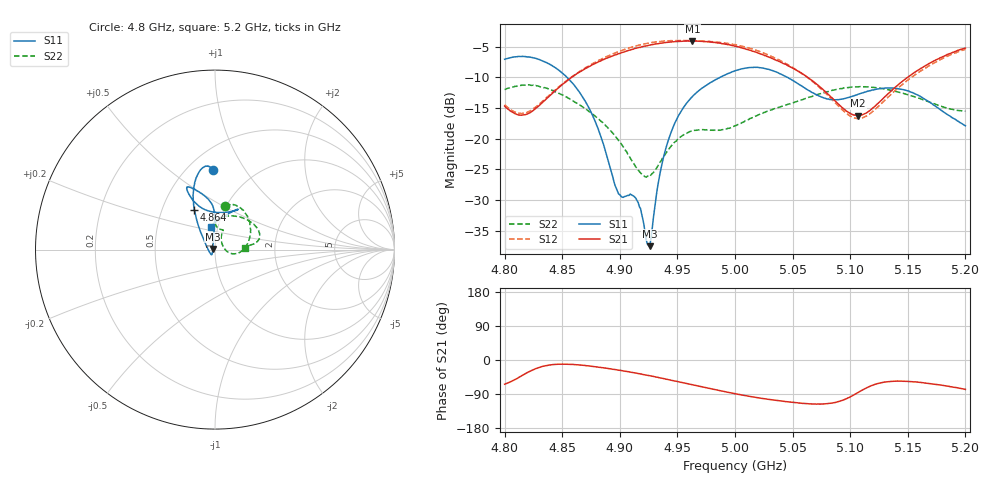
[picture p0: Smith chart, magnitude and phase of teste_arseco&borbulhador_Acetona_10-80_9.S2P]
! Network Analyzer HP8722D
! Hewlett-Packard
! Data name: Linha & Wilkinson
! Saver's name: Rodrigo Anjos
! Comments: Teste da utilização de aquisição
! continua pelo VNA HP8722D
! Time and date: 25/4/2025 15:20
!  Frequency  S11  S21  S12  S22
# HZ  S  MA R 50
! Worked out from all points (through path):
!   401 points, 4.8 GHz to 5.2 GHz, reference 50 ohm
!   highest |S21| = -4.08 dB at 4.963 GHz (marker M1); lowest = -16.3 dB at 5.107 GHz (marker M2)
!   lowest |S11| = -37.5 dB at 4.926 GHz (marker M3), VSWR 1.03, Z = 48.8 + j0.413 ohm
!   |S11| at or under -10 dB: 4.854 GHz to 4.987 GHz (133.2 MHz wide, 2.71 % of centre); 5.045 GHz to end of sweep
!   |S22| runs from -26.3 to -11.2 dB; largest |S21 - S12| = 1.2
!   S11 on the Smith chart (normalised r, x): 4.8 GHz: 0.66, +0.73; 4.864 GHz: 0.73, +0.34; 5.2 GHz: 0.92, +0.23
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4.8e9  0.4432 91.6  0.1841 -63.9  0.1886 69.4  0.251 76.9
4.82e9  0.4627 97.8  0.1591 -32.6  0.1646 98.0  0.2744 61.8
4.843e9  0.3839 107.2  0.2412 -12.0  0.2447 118.6  0.2451 37.4
4.864e9  0.2466 117.6  0.3444 -12.9  0.3465 120.8  0.1908 13.1
4.867e9  0.2238 119.4  0.3571 -13.8  0.3615 120.4  0.1833 9.9
4.881e9  0.1215 130.2  0.421 -18.6  0.4303 117.9  0.1459 -4.2
4.898e9  0.03692 -177.8  0.4872 -26.3  0.5074 112.5  0.09938 -13.8
4.914e9  0.03251 -122.4  0.545 -34.4  0.5685 105.1  0.05846 -2.1
4.918e9  0.02694 -125.7  0.5536 -36.9  0.5803 103.0  0.0526 8.4
4.924e9  0.01373 -165.2  0.5712 -40.4  0.5977 99.4  0.04939 28.4
4.926e9  0.01327 161.4  0.5788 -41.6  0.6019 98.3  0.04887 34.1
4.934e9  0.04662 101.8  0.5952 -46.7  0.6175 93.3  0.06256 54.7
4.946e9  0.1223 91.6  0.6158 -54.2  0.6269 85.6  0.08973 66.0
4.963e9  0.2198 91.5  0.6254 -65.3  0.6255 74.8  0.1154 67.3
5e9  0.3571 109.1  0.5662 -88.9  0.5841 50.9  0.1272 85.4
5.031e9  0.3621 115.2  0.4556 -104.7  0.4703 33.3  0.171 83.8
5.067e9  0.237 106.2  0.2971 -115.8  0.2939 23.5  0.2207 56.8
5.085e9  0.2075 88.5  0.211 -113.3  0.2045 27.9  0.2482 40.5
5.107e9  0.23 67.0  0.1535 -85.5  0.1458 57.5  0.2641 24.1
5.134e9  0.2581 60.3  0.2376 -56.8  0.2224 88.5  0.249 12.6
5.168e9  0.2013 72.7  0.4068 -61.8  0.3901 85.1  0.1992 7.3
5.2e9  0.1272 101.3  0.5468 -77.6  0.5349 70.1  0.1671 3.6
